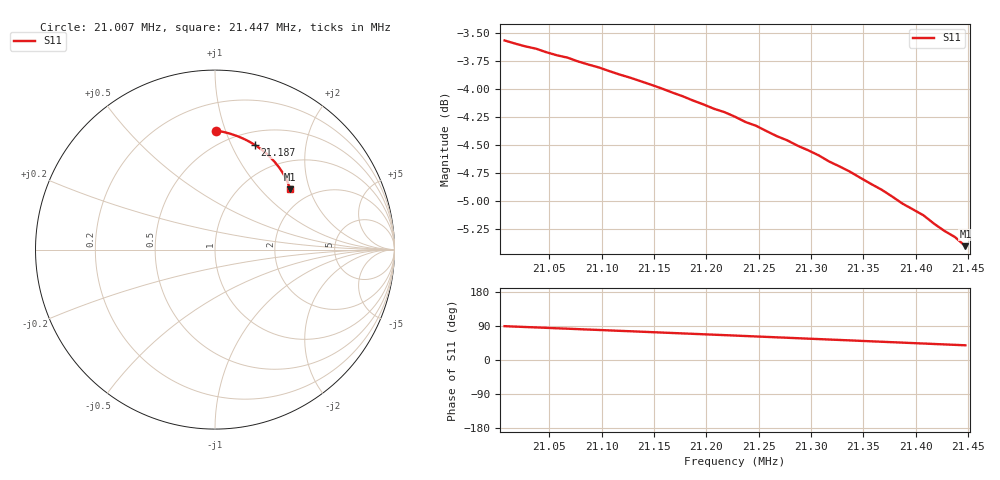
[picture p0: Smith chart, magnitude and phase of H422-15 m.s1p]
# HZ S RI R 50
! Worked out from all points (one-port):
!   45 points, 21.007 MHz to 21.447 MHz, reference 50 ohm
!   lowest |S11| = -5.4 dB at 21.447 MHz (marker M1), VSWR 3.32, Z = 78.8 + j74.5 ohm
!   |S11| at or under -10 dB: nowhere
!   S11 on the Smith chart (normalised r, x): 21.007 MHz: 0.39, +0.93; 21.187 MHz: 0.65, +1.24; 21.447 MHz: 1.58, +1.49
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2.10072e7  0.00821 0.6631
2.102721e7  0.0342 0.6582
2.103721e7  0.0462 0.6559
2.105722e7  0.0718 0.6491
2.106722e7  0.0835 0.6462
2.108723e7  0.1086 0.6378
2.109724e7  0.1203 0.6337
2.111724e7  0.1446 0.6237
2.112725e7  0.156 0.6189
2.114726e7  0.1793 0.6078
2.117727e7  0.2125 0.5891
2.118727e7  0.223 0.5822
2.121728e7  0.2543 0.5612
2.122729e7  0.2645 0.5532
2.123729e7  0.2742 0.5448
2.12473e7  0.284 0.5371
2.127731e7  0.3113 0.5112
2.128731e7  0.3199 0.5019
2.130732e7  0.3364 0.4839
2.132733e7  0.352 0.4644
2.133733e7  0.3591 0.4548
2.135734e7  0.3731 0.434
2.136734e7  0.3794 0.424
2.139736e7  0.3968 0.3917
2.140736e7  0.4022 0.3813
2.142737e7  0.4109 0.3587
2.143737e7  0.4155 0.3481
2.144738e7  0.4185 0.3364
